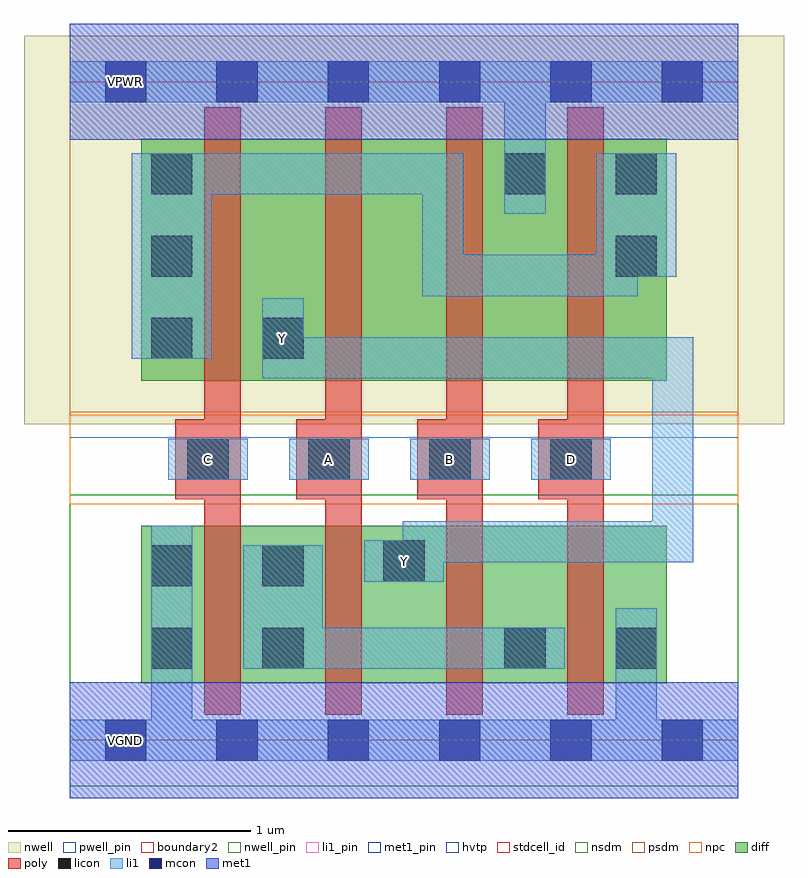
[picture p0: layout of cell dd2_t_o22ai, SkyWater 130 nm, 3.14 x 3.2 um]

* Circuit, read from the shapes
.subckt dd2_t_o22ai A B C D VGND VNB VPB VPWR Y
XM1 n1 C VGND VNB sky130_fd_pr__nfet_01v8 w=0.65 l=0.15
XM2 Y A n1 VNB sky130_fd_pr__nfet_01v8 w=0.65 l=0.15
XM3 n1 B Y VNB sky130_fd_pr__nfet_01v8 w=0.65 l=0.15
XM4 VGND D n1 VNB sky130_fd_pr__nfet_01v8 w=0.65 l=0.15
XM5 Y C n2 VPB sky130_fd_pr__pfet_01v8_hvt w=1 l=0.15
XM6 n3 A Y VPB sky130_fd_pr__pfet_01v8_hvt w=1 l=0.15
XM7 VPWR B n3 VPB sky130_fd_pr__pfet_01v8_hvt w=1 l=0.15
XM8 n2 D VPWR VPB sky130_fd_pr__pfet_01v8_hvt w=1 l=0.15
.ends

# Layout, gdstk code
import gdstk
lib = gdstk.Library(unit=1e-6, precision=1e-09)
def R(c, l, rs):  # rectangles x0, y0, x1, y1
    for r in rs: c.add(gdstk.rectangle(r[:2], r[2:], *l))
def A(c, l, x, y, w, h, nx, ny, dx, dy):  # array of equal rectangles
    R(c, l, [(x+i*dx, y+j*dy, x+i*dx+w, y+j*dy+h) for i in range(nx) for j in range(ny)])
nwell_pin = (64, 16)
nwell = (64, 20)
diff = (65, 20)
poly = (66, 20)
licon = (66, 44)
li1_pin = (67, 16)
li1 = (67, 20)
mcon = (67, 44)
met1_pin = (68, 16)
met1 = (68, 20)
hvtp = (78, 44)
stdcell_id = (81, 4)
nsdm = (93, 44)
psdm = (94, 20)
npc = (95, 20)
pwell_pin = (122, 16)
boundary2 = (236, 0)

dd2_t_o22ai = lib.new_cell('dd2_t_o22ai')
R(dd2_t_o22ai, nwell_pin, [(0.145,2.635,0.315,2.805)])
R(dd2_t_o22ai, nwell, [(-0.19,1.305,2.95,2.91)])
R(dd2_t_o22ai, diff, [(0.295,0.235,0.88,0.885), (0.88,0.235,1.38,0.885), (1.38,0.235,1.88,0.885), (1.88,0.235,2.465,0.885), (0.295,1.485,0.88,2.485), (0.88,1.485,1.38,2.485), (1.38,1.485,1.88,2.485), (1.88,1.485,2.465,2.485)])
A(dd2_t_o22ai, poly, 0.555, 0.105, 0.15, 2.51, 4, 1, 0.5, 0)
A(dd2_t_o22ai, poly, 0.435, 0.995, 0.27, 0.33, 4, 1, 0.5, 0)
A(dd2_t_o22ai, licon, 0.485, 1.075, 0.17, 0.17, 4, 1, 0.5, 0)
A(dd2_t_o22ai, licon, 0.335, 1.575, 0.17, 0.17, 1, 3, 0, 0.34)
R(dd2_t_o22ai, licon, [(0.335,0.295,0.505,0.465), (0.795,0.295,0.965,0.465), (1.795,0.295,1.965,0.465), (2.255,0.295,2.425,0.465), (0.335,0.635,0.505,0.805), (0.795,0.635,0.965,0.805), (1.295,0.655,1.465,0.825), (0.795,1.575,0.965,1.745), (2.255,1.915,2.425,2.085), (1.795,2.255,1.965,2.425), (2.255,2.255,2.425,2.425)])
A(dd2_t_o22ai, li1_pin, 0.485, 1.075, 0.17, 0.17, 4, 1, 0.5, 0)
R(dd2_t_o22ai, li1_pin, [(1.295,0.655,1.465,0.825), (0.795,1.575,0.965,1.745)])
A(dd2_t_o22ai, li1, 0.405, 1.075, 0.33, 0.17, 4, 1, 0.5, 0)
R(dd2_t_o22ai, li1, [(0,-0.085,2.76,0.085), (0.335,-0.085,0.505,0.545), (2.255,-0.085,2.425,0.545), (0.335,0.295,0.505,0.885), (0.715,0.295,1.045,0.465), (0.715,0.295,1.045,0.805), (0.875,0.295,1.885,0.465), (1.715,0.295,2.045,0.465), (1.215,0.655,1.545,0.825), (1.375,0.655,1.545,0.905), (1.375,0.735,2.575,0.905), (2.405,0.735,2.575,1.665), (0.795,1.495,0.965,1.825), (0.795,1.495,2.575,1.665), (0.255,1.575,0.585,2.085), (1.455,1.835,1.625,2.425), (1.455,1.835,2.345,2.005), (2.175,1.835,2.345,2.425), (0.255,1.915,0.585,2.425), (2.175,1.915,2.505,2.425), (1.795,2.175,1.965,2.805), (0.255,2.255,0.585,2.425), (0.415,2.255,1.625,2.425), (2.175,2.255,2.505,2.425), (0,2.635,2.76,2.805)])
A(dd2_t_o22ai, mcon, 0.145, -0.085, 0.17, 0.17, 6, 2, 0.46, 2.72)
R(dd2_t_o22ai, met1_pin, [(0.145,-0.085,0.315,0.085), (0.145,2.635,0.315,2.805)])
R(dd2_t_o22ai, met1, [(0,-0.24,2.76,0.24), (0,2.48,2.76,2.96)])
R(dd2_t_o22ai, hvtp, [(0,1.25,2.76,2.72)])
R(dd2_t_o22ai, stdcell_id, [(0,0,2.76,2.72)])
R(dd2_t_o22ai, nsdm, [(0,-0.19,2.76,1.015)])
R(dd2_t_o22ai, psdm, [(0,1.355,2.76,2.91)])
R(dd2_t_o22ai, npc, [(0,0.975,2.76,1.345)])
R(dd2_t_o22ai, pwell_pin, [(0.145,-0.085,0.315,0.085)])
R(dd2_t_o22ai, boundary2, [(0,0,2.76,2.72)])
dd2_t_o22ai.add(gdstk.Label('A', (1.07,1.16), layer=67, texttype=5))
dd2_t_o22ai.add(gdstk.Label('B', (1.57,1.16), layer=67, texttype=5))
dd2_t_o22ai.add(gdstk.Label('C', (0.57,1.16), layer=67, texttype=5))
dd2_t_o22ai.add(gdstk.Label('D', (2.07,1.16), layer=67, texttype=5))
dd2_t_o22ai.add(gdstk.Label('Y', (1.38,0.74), layer=67, texttype=5))
dd2_t_o22ai.add(gdstk.Label('Y', (0.88,1.66), layer=67, texttype=5))
dd2_t_o22ai.add(gdstk.Label('VGND', (0.23,0), layer=68, texttype=5))
dd2_t_o22ai.add(gdstk.Label('VPWR', (0.23,2.72), layer=68, texttype=5))
dd2_t_o22ai.add(gdstk.Label('VPB', (0.23,2.72), layer=64, texttype=5))
dd2_t_o22ai.add(gdstk.Label('VNB', (0.23,0), layer=64, texttype=59))

lib.write_gds('dd2_t_o22ai.gds')
